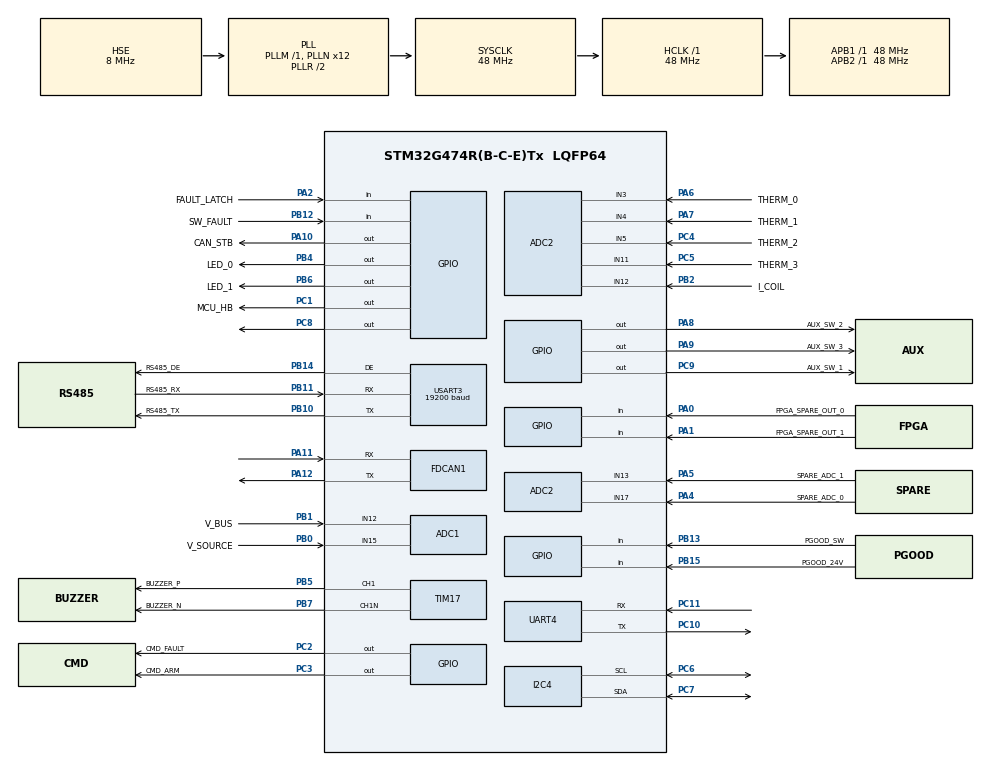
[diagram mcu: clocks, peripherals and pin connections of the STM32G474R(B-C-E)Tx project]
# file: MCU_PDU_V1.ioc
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ADC1.Channel-0\#ChannelRegularConversion=ADC_CHANNEL_12
ADC1.NbrOfConversion=1
ADC1.NbrOfConversionFlag=1
ADC1.OffsetNumber-0\#ChannelRegularConversion=ADC_OFFSET_NONE
ADC1.Rank-0\#ChannelRegularConversion=1
ADC1.SamplingTime-0\#ChannelRegularConversion=ADC_SAMPLETIME_92CYCLES_5
ADC1.master=1
ADC2.Channel-0\#ChannelRegularConversion=ADC_CHANNEL_11
ADC2.NbrOfConversion=1
ADC2.NbrOfConversionFlag=1
ADC2.OffsetNumber-0\#ChannelRegularConversion=ADC_OFFSET_NONE
ADC2.Rank-0\#ChannelRegularConversion=1
ADC2.SamplingTime-0\#ChannelRegularConversion=ADC_SAMPLETIME_92CYCLES_5
FDCAN1.CalculateBaudRateNominal=250000
FDCAN1.CalculateTimeBitNominal=4000
FDCAN1.CalculateTimeQuantumNominal=166.66666666666666
FDCAN1.DataPrescaler=8
FDCAN1.DataSyncJumpWidth=5
FDCAN1.DataTimeSeg1=18
FDCAN1.DataTimeSeg2=5
FDCAN1.NominalPrescaler=8
FDCAN1.NominalSyncJumpWidth=5
FDCAN1.NominalTimeSeg1=18
FDCAN1.NominalTimeSeg2=5
FDCAN1.StdFiltersNbr=1
I2C4.Timing=0x10805D88
Mcu.Family=STM32G4
Mcu.Name=STM32G474R(B-C-E)Tx
Mcu.Package=LQFP64
NVIC.PriorityGroup=NVIC_PRIORITYGROUP_4
PA0.GPIO_Label=FPGA_SPARE_OUT_0
PA0.Signal=GPIO_Input
PA1.GPIO_Label=FPGA_SPARE_OUT_1
PA1.Signal=GPIO_Input
PA10.GPIO_Label=CAN_STB
PA10.Signal=GPIO_Output
PA11.Mode=FDCAN_Activate
PA11.Signal=FDCAN1_RX
PA12.Mode=FDCAN_Activate
PA12.Signal=FDCAN1_TX
PA13.Mode=Trace_Asynchronous_SW
PA13.Signal=SYS_JTMS-SWDIO
PA14.Mode=Trace_Asynchronous_SW
PA14.Signal=SYS_JTCK-SWCLK
PA2.GPIO_Label=FAULT_LATCH
PA2.Signal=GPIO_Input
PA4.GPIO_Label=SPARE_ADC_0
PA4.Mode=IN17-Single-Ended
PA4.Signal=ADC2_IN17
PA5.GPIO_Label=SPARE_ADC_1
PA5.Mode=IN13-Single-Ended
PA5.Signal=ADC2_IN13
PA6.GPIO_Label=THERM_0
PA6.Mode=IN3-Single-Ended
PA6.Signal=ADC2_IN3
PA7.GPIO_Label=THERM_1
PA7.Mode=IN4-Single-Ended
PA7.Signal=ADC2_IN4
PA8.GPIO_Label=AUX_SW_2
PA8.Signal=GPIO_Output
PA9.GPIO_Label=AUX_SW_3
PA9.Signal=GPIO_Output
PB0.GPIO_Label=V_SOURCE
PB0.Mode=IN15-Single-Ended
PB0.Signal=ADC1_IN15
PB1.GPIO_Label=V_BUS
PB1.Mode=IN12-Single-Ended
PB1.Signal=ADC1_IN12
PB10.GPIO_Label=RS485_TX
PB10.Mode=Asynchronous
PB10.Signal=USART3_TX
PB11.GPIO_Label=RS485_RX
PB11.Mode=Asynchronous
PB11.Signal=USART3_RX
PB12.GPIO_Label=SW_FAULT
PB12.Signal=GPIO_Input
PB13.GPIO_Label=PGOOD_SW
PB13.Signal=GPIO_Input
PB14.GPIO_Label=RS485_DE
PB14.Mode=Hardware Flow Control (RS485)
PB14.Signal=USART3_DE
PB15.GPIO_Label=PGOOD_24V
PB15.Signal=GPIO_Input
PB2.GPIO_Label=I_COIL
PB2.Mode=IN12-Single-Ended
PB2.Signal=ADC2_IN12
PB3.Mode=Trace_Asynchronous_SW
PB3.Signal=SYS_JTDO-SWO
PB4.GPIO_Label=LED_0
PB4.Signal=GPIO_Output
PB5.GPIO_Label=BUZZER_P
PB5.Signal=S_TIM17_CH1
PB6.GPIO_Label=LED_1
PB6.Signal=GPIO_Output
PB7.GPIO_Label=BUZZER_N
PB7.Mode=PWM Generation1 CH1 CH1N
PB7.Signal=TIM17_CH1N
PC1.GPIO_Label=MCU_HB
PC1.PinState=GPIO_PIN_SET
PC1.Signal=GPIO_Output
PC10.Mode=Asynchronous
PC10.Signal=UART4_TX
PC11.Mode=Asynchronous
PC11.Signal=UART4_RX
PC14-OSC32_IN.Mode=LSE-External-Oscillator
PC14-OSC32_IN.Signal=RCC_OSC32_IN
PC15-OSC32_OUT.Mode=LSE-External-Oscillator
PC15-OSC32_OUT.Signal=RCC_OSC32_OUT
PC2.GPIO_Label=CMD_FAULT
PC2.Signal=GPIO_Output
PC3.GPIO_Label=CMD_ARM
PC3.Signal=GPIO_Output
PC4.GPIO_Label=THERM_2
PC4.Mode=IN5-Single-Ended
PC4.Signal=ADC2_IN5
PC5.GPIO_Label=THERM_3
PC5.Mode=IN11-Single-Ended
PC5.Signal=ADC2_IN11
PC6.Mode=I2C
PC6.Signal=I2C4_SCL
PC7.Mode=I2C
PC7.Signal=I2C4_SDA
PC8.Signal=GPIO_Output
PC9.GPIO_Label=AUX_SW_1
PC9.Signal=GPIO_Output
PF0-OSC_IN.Mode=HSE-External-Oscillator
PF0-OSC_IN.Signal=RCC_OSC_IN
PF1-OSC_OUT.Mode=HSE-External-Oscillator
PF1-OSC_OUT.Signal=RCC_OSC_OUT
ProjectManager.HeapSize=0x200
ProjectManager.StackSize=0x400
ProjectManager.TargetToolchain=STM32CubeIDE
RCC.ADC12Freq_Value=48000000
RCC.ADC345Freq_Value=48000000
RCC.AHBFreq_Value=48000000
RCC.APB1Freq_Value=48000000
RCC.APB1TimFreq_Value=48000000
RCC.APB2Freq_Value=48000000
RCC.APB2TimFreq_Value=48000000
RCC.CortexFreq_Value=48000000
RCC.EXTERNAL_CLOCK_VALUE=12288000
RCC.HCLKFreq_Value=48000000
RCC.HSE_VALUE=8000000
RCC.HSI48_VALUE=48000000
RCC.HSI_VALUE=16000000
RCC.PLLN=12
RCC.PLLSourceVirtual=RCC_PLLSOURCE_HSE
RCC.RTCClockSelection=RCC_RTCCLKSOURCE_LSE
RCC.SYSCLKFreq_VALUE=48000000
RCC.SYSCLKSource=RCC_SYSCLKSOURCE_PLLCLK
RCC.USBFreq_Value=48000000
RCC.VCOOutputFreq_Value=96000000
SH.S_TIM17_CH1.0=TIM17_CH1,PWM Generation1 CH1 CH1N
TIM17.Channel=TIM_CHANNEL_1
USART3.BaudRate=19200
USART3.VirtualMode-Asynchronous=VM_ASYNC
USART3.VirtualMode-Hardware\ Flow\ Control\ (RS485)=VM_ASYNC
VP_RTC_VS_RTC_Activate.Mode=RTC_Enabled
VP_SYS_VS_DBSignals.Mode=DisableDeadBatterySignals
VP_TIM17_VS_ClockSourceINT.Mode=Enable_Timer
board=custom

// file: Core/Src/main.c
/* USER CODE BEGIN Header */
/**
 ******************************************************************************
 * @file           : main.c
 * @brief          : Main program body
 ******************************************************************************
 * @attention
 *
 * Copyright (c) 2026 STMicroelectronics.
 * All rights reserved.
 *
 * This software is licensed under terms that can be found in the LICENSE file
 * in the root directory of this software component.
 * If no LICENSE file comes with this software, it is provided AS-IS.
 *
 ******************************************************************************
 */
/* USER CODE END Header */
#include "main.h"

/* USER CODE BEGIN Includes */
#if defined(PDU_BUILD_MODE_SELFTEST)
#include "pdu_selftest_cli_v3.h"
#elif defined(PDU_BUILD_MODE_RUNTIME)
#include "pdu_app.h"
#else
#error "Build mode not defined. Add PDU_BUILD_MODE_SELFTEST or PDU_BUILD_MODE_RUNTIME to preprocessor symbols."
#endif
/* USER CODE END Includes */

ADC_HandleTypeDef hadc1;
ADC_HandleTypeDef hadc2;

FDCAN_HandleTypeDef hfdcan1;

I2C_HandleTypeDef hi2c4;

RTC_HandleTypeDef hrtc;

TIM_HandleTypeDef htim17;

UART_HandleTypeDef huart4;
UART_HandleTypeDef huart3;

void SystemClock_Config(void);
static void MX_GPIO_Init(void);
static void MX_ADC1_Init(void);
static void MX_ADC2_Init(void);
static void MX_FDCAN1_Init(void);
static void MX_I2C4_Init(void);
static void MX_RTC_Init(void);
static void MX_USART3_UART_Init(void);
static void MX_UART4_Init(void);
static void MX_TIM17_Init(void);

int main(void)
{

  /* MCU Configuration--------------------------------------------------------*/

  /* Reset of all peripherals, Initializes the Flash interface and the Systick. */
  HAL_Init();

  /* Configure the system clock */
  SystemClock_Config();

  /* Initialize all configured peripherals */
  MX_GPIO_Init();
  MX_ADC1_Init();
  MX_ADC2_Init();
  MX_FDCAN1_Init();
  MX_I2C4_Init();
  MX_RTC_Init();
  MX_USART3_UART_Init();
  MX_UART4_Init();
  MX_TIM17_Init();
  /* USER CODE BEGIN 2 */

#if defined(PDU_BUILD_MODE_SELFTEST)
	PDU_SelfTest_Init();
#elif defined(PDU_BUILD_MODE_RUNTIME)
	PDU_App_Init();
#endif
  /* USER CODE END 2 */

  /* Infinite loop */
  /* USER CODE BEGIN WHILE */
	while (1) {
#if defined(PDU_BUILD_MODE_SELFTEST)
		PDU_SelfTest_Task();
#elif defined(PDU_BUILD_MODE_RUNTIME)
		PDU_App_Task();
#endif
    /* USER CODE END WHILE */

	}
}

void SystemClock_Config(void)
{
  RCC_OscInitTypeDef RCC_OscInitStruct = {0};
  RCC_ClkInitTypeDef RCC_ClkInitStruct = {0};

  /** Configure the main internal regulator output voltage
  */
  HAL_PWREx_ControlVoltageScaling(PWR_REGULATOR_VOLTAGE_SCALE1);

  /** Configure LSE Drive Capability
  */
  HAL_PWR_EnableBkUpAccess();
  __HAL_RCC_LSEDRIVE_CONFIG(RCC_LSEDRIVE_LOW);

  /** Initializes the RCC Oscillators according to the specified parameters
  * in the RCC_OscInitTypeDef structure.
  */
  RCC_OscInitStruct.OscillatorType = RCC_OSCILLATORTYPE_HSE|RCC_OSCILLATORTYPE_LSE;
  RCC_OscInitStruct.HSEState = RCC_HSE_ON;
  RCC_OscInitStruct.LSEState = RCC_LSE_ON;
  RCC_OscInitStruct.PLL.PLLState = RCC_PLL_ON;
  RCC_OscInitStruct.PLL.PLLSource = RCC_PLLSOURCE_HSE;
  RCC_OscInitStruct.PLL.PLLM = RCC_PLLM_DIV1;
  RCC_OscInitStruct.PLL.PLLN = 12;
  RCC_OscInitStruct.PLL.PLLP = RCC_PLLP_DIV2;
  RCC_OscInitStruct.PLL.PLLQ = RCC_PLLQ_DIV2;
  RCC_OscInitStruct.PLL.PLLR = RCC_PLLR_DIV2;
  if (HAL_RCC_OscConfig(&RCC_OscInitStruct) != HAL_OK)
  {
    Error_Handler();
  }

  /** Initializes the CPU, AHB and APB buses clocks
  */
  RCC_ClkInitStruct.ClockType = RCC_CLOCKTYPE_HCLK|RCC_CLOCKTYPE_SYSCLK
                              |RCC_CLOCKTYPE_PCLK1|RCC_CLOCKTYPE_PCLK2;
  RCC_ClkInitStruct.SYSCLKSource = RCC_SYSCLKSOURCE_PLLCLK;
  RCC_ClkInitStruct.AHBCLKDivider = RCC_SYSCLK_DIV1;
  RCC_ClkInitStruct.APB1CLKDivider = RCC_HCLK_DIV1;
  RCC_ClkInitStruct.APB2CLKDivider = RCC_HCLK_DIV1;

  if (HAL_RCC_ClockConfig(&RCC_ClkInitStruct, FLASH_LATENCY_1) != HAL_OK)
  {
    Error_Handler();
  }
}

static void MX_ADC1_Init(void)
{

  ADC_MultiModeTypeDef multimode = {0};
  ADC_ChannelConfTypeDef sConfig = {0};

  /** Common config
  */
  hadc1.Instance = ADC1;
  hadc1.Init.ClockPrescaler = ADC_CLOCK_SYNC_PCLK_DIV2;
  hadc1.Init.Resolution = ADC_RESOLUTION_12B;
  hadc1.Init.DataAlign = ADC_DATAALIGN_RIGHT;
  hadc1.Init.GainCompensation = 0;
  hadc1.Init.ScanConvMode = ADC_SCAN_DISABLE;
  hadc1.Init.EOCSelection = ADC_EOC_SINGLE_CONV;
  hadc1.Init.LowPowerAutoWait = DISABLE;
  hadc1.Init.ContinuousConvMode = DISABLE;
  hadc1.Init.NbrOfConversion = 1;
  hadc1.Init.DiscontinuousConvMode = DISABLE;
  hadc1.Init.ExternalTrigConv = ADC_SOFTWARE_START;
  hadc1.Init.ExternalTrigConvEdge = ADC_EXTERNALTRIGCONVEDGE_NONE;
  hadc1.Init.DMAContinuousRequests = DISABLE;
  hadc1.Init.Overrun = ADC_OVR_DATA_PRESERVED;
  hadc1.Init.OversamplingMode = DISABLE;
  if (HAL_ADC_Init(&hadc1) != HAL_OK)
  {
    Error_Handler();
  }

  /** Configure the ADC multi-mode
  */
  multimode.Mode = ADC_MODE_INDEPENDENT;
  if (HAL_ADCEx_MultiModeConfigChannel(&hadc1, &multimode) != HAL_OK)
  {
    Error_Handler();
  }

  /** Configure Regular Channel
  */
  sConfig.Channel = ADC_CHANNEL_12;
  sConfig.Rank = ADC_REGULAR_RANK_1;
  sConfig.SamplingTime = ADC_SAMPLETIME_92CYCLES_5;
  sConfig.SingleDiff = ADC_SINGLE_ENDED;
  sConfig.OffsetNumber = ADC_OFFSET_NONE;
  sConfig.Offset = 0;
  if (HAL_ADC_ConfigChannel(&hadc1, &sConfig) != HAL_OK)
  {
    Error_Handler();
  }

}

static void MX_ADC2_Init(void)
{

  ADC_ChannelConfTypeDef sConfig = {0};

  /** Common config
  */
  hadc2.Instance = ADC2;
  hadc2.Init.ClockPrescaler = ADC_CLOCK_SYNC_PCLK_DIV2;
  hadc2.Init.Resolution = ADC_RESOLUTION_12B;
  hadc2.Init.DataAlign = ADC_DATAALIGN_RIGHT;
  hadc2.Init.GainCompensation = 0;
  hadc2.Init.ScanConvMode = ADC_SCAN_DISABLE;
  hadc2.Init.EOCSelection = ADC_EOC_SINGLE_CONV;
  hadc2.Init.LowPowerAutoWait = DISABLE;
  hadc2.Init.ContinuousConvMode = DISABLE;
  hadc2.Init.NbrOfConversion = 1;
  hadc2.Init.DiscontinuousConvMode = DISABLE;
  hadc2.Init.ExternalTrigConv = ADC_SOFTWARE_START;
  hadc2.Init.ExternalTrigConvEdge = ADC_EXTERNALTRIGCONVEDGE_NONE;
  hadc2.Init.DMAContinuousRequests = DISABLE;
  hadc2.Init.Overrun = ADC_OVR_DATA_PRESERVED;
  hadc2.Init.OversamplingMode = DISABLE;
  if (HAL_ADC_Init(&hadc2) != HAL_OK)
  {
    Error_Handler();
  }

  /** Configure Regular Channel
  */
  sConfig.Channel = ADC_CHANNEL_11;
  sConfig.Rank = ADC_REGULAR_RANK_1;
  sConfig.SamplingTime = ADC_SAMPLETIME_92CYCLES_5;
  sConfig.SingleDiff = ADC_SINGLE_ENDED;
  sConfig.OffsetNumber = ADC_OFFSET_NONE;
  sConfig.Offset = 0;
  if (HAL_ADC_ConfigChannel(&hadc2, &sConfig) != HAL_OK)
  {
    Error_Handler();
  }

}

static void MX_FDCAN1_Init(void)
{

  hfdcan1.Instance = FDCAN1;
  hfdcan1.Init.ClockDivider = FDCAN_CLOCK_DIV1;
  hfdcan1.Init.FrameFormat = FDCAN_FRAME_CLASSIC;
  hfdcan1.Init.Mode = FDCAN_MODE_NORMAL;
  hfdcan1.Init.AutoRetransmission = DISABLE;
  hfdcan1.Init.TransmitPause = DISABLE;
  hfdcan1.Init.ProtocolException = DISABLE;
  hfdcan1.Init.NominalPrescaler = 8;
  hfdcan1.Init.NominalSyncJumpWidth = 5;
  hfdcan1.Init.NominalTimeSeg1 = 18;
  hfdcan1.Init.NominalTimeSeg2 = 5;
  hfdcan1.Init.DataPrescaler = 8;
  hfdcan1.Init.DataSyncJumpWidth = 5;
  hfdcan1.Init.DataTimeSeg1 = 18;
  hfdcan1.Init.DataTimeSeg2 = 5;
  hfdcan1.Init.StdFiltersNbr = 1;
  hfdcan1.Init.ExtFiltersNbr = 0;
  hfdcan1.Init.TxFifoQueueMode = FDCAN_TX_FIFO_OPERATION;
  if (HAL_FDCAN_Init(&hfdcan1) != HAL_OK)
  {
    Error_Handler();
  }

}

static void MX_I2C4_Init(void)
{

  hi2c4.Instance = I2C4;
  hi2c4.Init.Timing = 0x10805D88;
  hi2c4.Init.OwnAddress1 = 0;
  hi2c4.Init.AddressingMode = I2C_ADDRESSINGMODE_7BIT;
  hi2c4.Init.DualAddressMode = I2C_DUALADDRESS_DISABLE;
  hi2c4.Init.OwnAddress2 = 0;
  hi2c4.Init.OwnAddress2Masks = I2C_OA2_NOMASK;
  hi2c4.Init.GeneralCallMode = I2C_GENERALCALL_DISABLE;
  hi2c4.Init.NoStretchMode = I2C_NOSTRETCH_DISABLE;
  if (HAL_I2C_Init(&hi2c4) != HAL_OK)
  {
    Error_Handler();
  }

  /** Configure Analogue filter
  */
  if (HAL_I2CEx_ConfigAnalogFilter(&hi2c4, I2C_ANALOGFILTER_ENABLE) != HAL_OK)
  {
    Error_Handler();
  }

  /** Configure Digital filter
  */
  if (HAL_I2CEx_ConfigDigitalFilter(&hi2c4, 0) != HAL_OK)
  {
    Error_Handler();
  }

}

static void MX_RTC_Init(void)
{

  /** Initialize RTC Only
  */
  hrtc.Instance = RTC;
  hrtc.Init.HourFormat = RTC_HOURFORMAT_24;
  hrtc.Init.AsynchPrediv = 127;
  hrtc.Init.SynchPrediv = 255;
  hrtc.Init.OutPut = RTC_OUTPUT_DISABLE;
  hrtc.Init.OutPutRemap = RTC_OUTPUT_REMAP_NONE;
  hrtc.Init.OutPutPolarity = RTC_OUTPUT_POLARITY_HIGH;
  hrtc.Init.OutPutType = RTC_OUTPUT_TYPE_OPENDRAIN;
  hrtc.Init.OutPutPullUp = RTC_OUTPUT_PULLUP_NONE;
  if (HAL_RTC_Init(&hrtc) != HAL_OK)
  {
    Error_Handler();
  }

}

static void MX_TIM17_Init(void)
{

  TIM_OC_InitTypeDef sConfigOC = {0};
  TIM_BreakDeadTimeConfigTypeDef sBreakDeadTimeConfig = {0};

  htim17.Instance = TIM17;
  htim17.Init.Prescaler = 0;
  htim17.Init.CounterMode = TIM_COUNTERMODE_UP;
  htim17.Init.Period = 65535;
  htim17.Init.ClockDivision = TIM_CLOCKDIVISION_DIV1;
  htim17.Init.RepetitionCounter = 0;
  htim17.Init.AutoReloadPreload = TIM_AUTORELOAD_PRELOAD_DISABLE;
  if (HAL_TIM_Base_Init(&htim17) != HAL_OK)
  {
    Error_Handler();
  }
  if (HAL_TIM_PWM_Init(&htim17) != HAL_OK)
  {
    Error_Handler();
  }
  sConfigOC.OCMode = TIM_OCMODE_PWM1;
  sConfigOC.Pulse = 0;
  sConfigOC.OCPolarity = TIM_OCPOLARITY_HIGH;
  sConfigOC.OCNPolarity = TIM_OCNPOLARITY_HIGH;
  sConfigOC.OCFastMode = TIM_OCFAST_DISABLE;
  sConfigOC.OCIdleState = TIM_OCIDLESTATE_RESET;
  sConfigOC.OCNIdleState = TIM_OCNIDLESTATE_RESET;
  if (HAL_TIM_PWM_ConfigChannel(&htim17, &sConfigOC, TIM_CHANNEL_1) != HAL_OK)
  {
    Error_Handler();
  }
  sBreakDeadTimeConfig.OffStateRunMode = TIM_OSSR_DISABLE;
  sBreakDeadTimeConfig.OffStateIDLEMode = TIM_OSSI_DISABLE;
  sBreakDeadTimeConfig.LockLevel = TIM_LOCKLEVEL_OFF;
  sBreakDeadTimeConfig.DeadTime = 0;
  sBreakDeadTimeConfig.BreakState = TIM_BREAK_DISABLE;
  sBreakDeadTimeConfig.BreakPolarity = TIM_BREAKPOLARITY_HIGH;
  sBreakDeadTimeConfig.BreakFilter = 0;
  sBreakDeadTimeConfig.AutomaticOutput = TIM_AUTOMATICOUTPUT_DISABLE;
  if (HAL_TIMEx_ConfigBreakDeadTime(&htim17, &sBreakDeadTimeConfig) != HAL_OK)
  {
    Error_Handler();
  }
  HAL_TIM_MspPostInit(&htim17);

}

static void MX_UART4_Init(void)
{

  huart4.Instance = UART4;
  huart4.Init.BaudRate = 115200;
  huart4.Init.WordLength = UART_WORDLENGTH_8B;
  huart4.Init.StopBits = UART_STOPBITS_1;
  huart4.Init.Parity = UART_PARITY_NONE;
  huart4.Init.Mode = UART_MODE_TX_RX;
  huart4.Init.HwFlowCtl = UART_HWCONTROL_NONE;
  huart4.Init.OverSampling = UART_OVERSAMPLING_16;
  huart4.Init.OneBitSampling = UART_ONE_BIT_SAMPLE_DISABLE;
  huart4.Init.ClockPrescaler = UART_PRESCALER_DIV1;
  huart4.AdvancedInit.AdvFeatureInit = UART_ADVFEATURE_NO_INIT;
  if (HAL_UART_Init(&huart4) != HAL_OK)
  {
    Error_Handler();
  }
  if (HAL_UARTEx_SetTxFifoThreshold(&huart4, UART_TXFIFO_THRESHOLD_1_8) != HAL_OK)
  {
    Error_Handler();
  }
  if (HAL_UARTEx_SetRxFifoThreshold(&huart4, UART_RXFIFO_THRESHOLD_1_8) != HAL_OK)
  {
    Error_Handler();
  }
  if (HAL_UARTEx_DisableFifoMode(&huart4) != HAL_OK)
  {
    Error_Handler();
  }

}

static void MX_USART3_UART_Init(void)
{

  huart3.Instance = USART3;
  huart3.Init.BaudRate = 19200;
  huart3.Init.WordLength = UART_WORDLENGTH_8B;
  huart3.Init.StopBits = UART_STOPBITS_1;
  huart3.Init.Parity = UART_PARITY_NONE;
  huart3.Init.Mode = UART_MODE_TX_RX;
  huart3.Init.HwFlowCtl = UART_HWCONTROL_NONE;
  huart3.Init.OverSampling = UART_OVERSAMPLING_16;
  huart3.Init.OneBitSampling = UART_ONE_BIT_SAMPLE_DISABLE;
  huart3.Init.ClockPrescaler = UART_PRESCALER_DIV1;
  huart3.AdvancedInit.AdvFeatureInit = UART_ADVFEATURE_NO_INIT;
  if (HAL_RS485Ex_Init(&huart3, UART_DE_POLARITY_HIGH, 0, 0) != HAL_OK)
  {
    Error_Handler();
  }
  if (HAL_UARTEx_SetTxFifoThreshold(&huart3, UART_TXFIFO_THRESHOLD_1_8) != HAL_OK)
  {
    Error_Handler();
  }
  if (HAL_UARTEx_SetRxFifoThreshold(&huart3, UART_RXFIFO_THRESHOLD_1_8) != HAL_OK)
  {
    Error_Handler();
  }
  if (HAL_UARTEx_DisableFifoMode(&huart3) != HAL_OK)
  {
    Error_Handler();
  }

}

static void MX_GPIO_Init(void)
{
  GPIO_InitTypeDef GPIO_InitStruct = {0};

  /* GPIO Ports Clock Enable */
  __HAL_RCC_GPIOC_CLK_ENABLE();
  __HAL_RCC_GPIOF_CLK_ENABLE();
  __HAL_RCC_GPIOA_CLK_ENABLE();
  __HAL_RCC_GPIOB_CLK_ENABLE();

  /*Configure GPIO pin Output Level */
  HAL_GPIO_WritePin(MCU_HB_GPIO_Port, MCU_HB_Pin, GPIO_PIN_SET);

  /*Configure GPIO pin Output Level */
  HAL_GPIO_WritePin(GPIOC, CMD_FAULT_Pin|CMD_ARM_Pin|GPIO_PIN_8|AUX_SW_1_Pin, GPIO_PIN_RESET);

  /*Configure GPIO pin Output Level */
  HAL_GPIO_WritePin(GPIOA, AUX_SW_2_Pin|AUX_SW_3_Pin|CAN_STB_Pin, GPIO_PIN_RESET);

  /*Configure GPIO pin Output Level */
  HAL_GPIO_WritePin(GPIOB, LED_0_Pin|LED_1_Pin, GPIO_PIN_RESET);

  /*Configure GPIO pins : MCU_HB_Pin CMD_FAULT_Pin CMD_ARM_Pin PC8
                           AUX_SW_1_Pin */
  GPIO_InitStruct.Pin = MCU_HB_Pin|CMD_FAULT_Pin|CMD_ARM_Pin|GPIO_PIN_8
                          |AUX_SW_1_Pin;
  GPIO_InitStruct.Mode = GPIO_MODE_OUTPUT_PP;
  GPIO_InitStruct.Pull = GPIO_NOPULL;
  GPIO_InitStruct.Speed = GPIO_SPEED_FREQ_LOW;
  HAL_GPIO_Init(GPIOC, &GPIO_InitStruct);

  /*Configure GPIO pins : FPGA_SPARE_OUT_0_Pin FPGA_SPARE_OUT_1_Pin FAULT_LATCH_Pin */
  GPIO_InitStruct.Pin = FPGA_SPARE_OUT_0_Pin|FPGA_SPARE_OUT_1_Pin|FAULT_LATCH_Pin;
  GPIO_InitStruct.Mode = GPIO_MODE_INPUT;
  GPIO_InitStruct.Pull = GPIO_NOPULL;
  HAL_GPIO_Init(GPIOA, &GPIO_InitStruct);

  /*Configure GPIO pins : SW_FAULT_Pin PGOOD_SW_Pin PGOOD_24V_Pin */
  GPIO_InitStruct.Pin = SW_FAULT_Pin|PGOOD_SW_Pin|PGOOD_24V_Pin;
  GPIO_InitStruct.Mode = GPIO_MODE_INPUT;
  GPIO_InitStruct.Pull = GPIO_NOPULL;
  HAL_GPIO_Init(GPIOB, &GPIO_InitStruct);

  /*Configure GPIO pins : AUX_SW_2_Pin AUX_SW_3_Pin CAN_STB_Pin */
  GPIO_InitStruct.Pin = AUX_SW_2_Pin|AUX_SW_3_Pin|CAN_STB_Pin;
  GPIO_InitStruct.Mode = GPIO_MODE_OUTPUT_PP;
  GPIO_InitStruct.Pull = GPIO_NOPULL;
  GPIO_InitStruct.Speed = GPIO_SPEED_FREQ_LOW;
  HAL_GPIO_Init(GPIOA, &GPIO_InitStruct);

  /*Configure GPIO pins : LED_0_Pin LED_1_Pin */
  GPIO_InitStruct.Pin = LED_0_Pin|LED_1_Pin;
  GPIO_InitStruct.Mode = GPIO_MODE_OUTPUT_PP;
  GPIO_InitStruct.Pull = GPIO_NOPULL;
  GPIO_InitStruct.Speed = GPIO_SPEED_FREQ_LOW;
  HAL_GPIO_Init(GPIOB, &GPIO_InitStruct);

}

void Error_Handler(void)
{
	__disable_irq();
	while (1) {
	}
}
